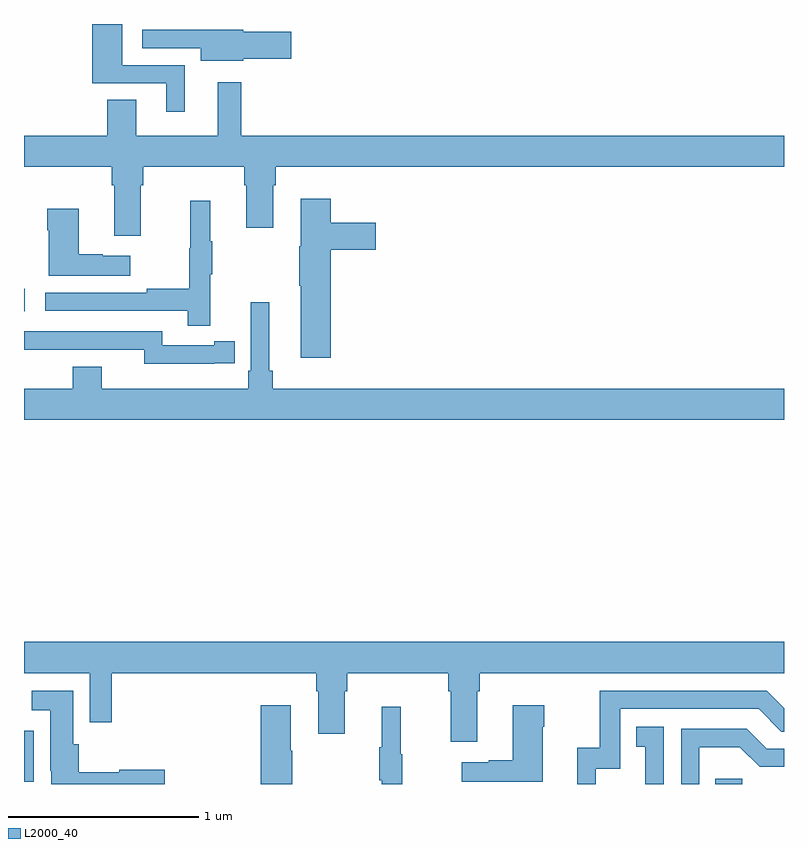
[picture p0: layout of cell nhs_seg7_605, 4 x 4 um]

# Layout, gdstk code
import gdstk
lib = gdstk.Library(unit=1e-6, precision=1e-09)
def R(c, l, rs):  # rectangles x0, y0, x1, y1
    for r in rs: c.add(gdstk.rectangle(r[:2], r[2:], *l))
def P(c, l, *ps):  # polygons
    for p in ps: c.add(gdstk.Polygon(p, *l))
L2000_40 = (2000, 40)

nhs_seg7_605 = lib.new_cell('nhs_seg7_605')
R(nhs_seg7_605, L2000_40, [(160.639,1032,160.779,1032.027), (157,1032.012,157.051,1032.279), (157,1034.487,157.003,1034.607)])
P(nhs_seg7_605, L2000_40, [(157.846,1035.783),(157.516,1035.783),(157.516,1036),(157.358,1036),(157.358,1035.687),(157.748,1035.687),(157.748,1035.537),(157.846,1035.537)],
  [(158.154,1035.817),(158.407,1035.817),(158.407,1035.959),(158.154,1035.959),(158.154,1035.97),(157.935,1035.97),(157.935,1035.969),(157.623,1035.969),(157.623,1035.873),(157.931,1035.873),(157.931,1035.806),(158.154,1035.806)],
  [(157.615,1035.152),(157.628,1035.152),(157.628,1035.248),(158.159,1035.248),(158.159,1035.152),(158.171,1035.152),(158.171,1034.928),(158.311,1034.928),(158.311,1035.152),(158.324,1035.152),(158.324,1035.248),(161,1035.248),(161,1035.412),(158.143,1035.412),(158.143,1035.694),(158.021,1035.694),(158.021,1035.412),(157.591,1035.412),(157.591,1035.602),(157.439,1035.602),(157.439,1035.412),(157,1035.412),(157,1035.248),(157.463,1035.248),(157.463,1035.152),(157.475,1035.152),(157.475,1034.886),(157.615,1034.886)],
  [(158.615,1034.813),(158.851,1034.813),(158.851,1034.955),(158.615,1034.955),(158.615,1035.079),(158.456,1035.079),(158.456,1034.829),(158.449,1034.829),(158.449,1034.623),(158.456,1034.623),(158.456,1034.244),(158.615,1034.244)],
  [(157.979,1034.683),(157.99,1034.683),(157.99,1034.857),(157.979,1034.857),(157.979,1035.07),(157.876,1035.07),(157.876,1034.82),(157.869,1034.82),(157.869,1034.606),(157.645,1034.606),(157.645,1034.586),(157.113,1034.586),(157.113,1034.49),(157.861,1034.49),(157.861,1034.412),(157.979,1034.412)],
  [(157.558,1034.779),(157.415,1034.779),(157.415,1034.789),(157.288,1034.789),(157.288,1035.028),(157.123,1035.028),(157.123,1034.915),(157.13,1034.915),(157.13,1034.675),(157.558,1034.675)],
  [(161,1034.08),(158.309,1034.08),(158.309,1034.176),(158.29,1034.176),(158.29,1034.536),(158.193,1034.536),(158.193,1034.176),(158.18,1034.176),(158.18,1034.08),(157.408,1034.08),(157.408,1034.197),(157.256,1034.197),(157.256,1034.08),(157,1034.08),(157,1033.916),(161,1033.916)],
  [(158,1034.214),(158.108,1034.214),(158.108,1034.33),(158,1034.33),(158,1034.31),(157.728,1034.31),(157.728,1034.382),(157,1034.382),(157,1034.285),(157.172,1034.285),(157.172,1034.286),(157.632,1034.286),(157.632,1034.213),(158,1034.213)],
  [(159.385,1032.488),(159.398,1032.488),(159.398,1032.584),(161,1032.584),(161,1032.748),(157,1032.748),(157,1032.584),(157.347,1032.584),(157.347,1032.324),(157.463,1032.324),(157.463,1032.584),(158.537,1032.584),(158.537,1032.488),(158.549,1032.488),(158.549,1032.264),(158.689,1032.264),(158.689,1032.488),(158.702,1032.488),(158.702,1032.584),(159.233,1032.584),(159.233,1032.488),(159.245,1032.488),(159.245,1032.222),(159.385,1032.222)],
  [(160.008,1032.081),(160.137,1032.081),(160.137,1032.396),(160.866,1032.396),(160.986,1032.276),(161,1032.276),(161,1032.4),(160.908,1032.492),(160.029,1032.492),(160.029,1032.19),(159.911,1032.19),(159.911,1032),(160.008,1032)],
  [(157.741,1032.074),(157.5,1032.074),(157.5,1032.061),(157.289,1032.061),(157.289,1032.21),(157.258,1032.21),(157.258,1032.49),(157.041,1032.49),(157.041,1032.389),(157.139,1032.389),(157.139,1032.07),(157.143,1032.07),(157.143,1032),(157.741,1032)],
  [(159.73,1032.302),(159.738,1032.302),(159.738,1032.415),(159.572,1032.415),(159.572,1032.125),(159.446,1032.125),(159.446,1032.115),(159.303,1032.115),(159.303,1032.011),(159.73,1032.011)],
  [(158.412,1032.176),(158.404,1032.176),(158.404,1032.415),(158.246,1032.415),(158.246,1032),(158.412,1032)],
  [(158.992,1032.156),(158.984,1032.156),(158.984,1032.406),(158.882,1032.406),(158.882,1032.193),(158.871,1032.193),(158.871,1032.019),(158.882,1032.019),(158.882,1032),(158.992,1032)],
  [(160.368,1032.301),(160.222,1032.301),(160.222,1032.195),(160.271,1032.195),(160.271,1032),(160.368,1032)],
  [(160.554,1032.194),(160.768,1032.194),(160.872,1032.09),(161,1032.09),(161,1032.186),(160.909,1032.186),(160.804,1032.291),(160.458,1032.291),(160.458,1032),(160.554,1032)])

lib.write_gds('nhs_seg7_605.gds')
